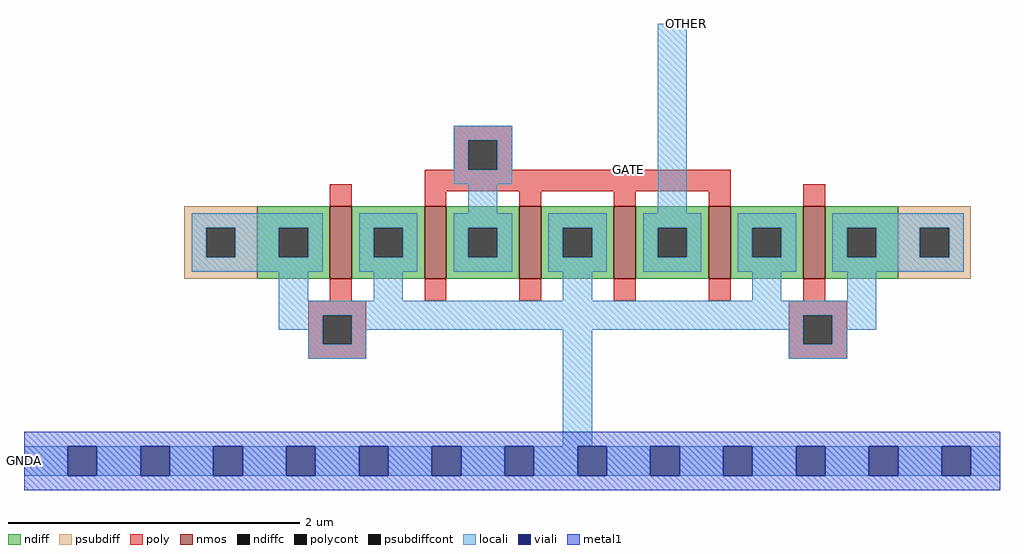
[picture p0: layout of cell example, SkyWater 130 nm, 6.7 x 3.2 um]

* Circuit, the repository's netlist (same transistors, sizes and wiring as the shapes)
* NGSPICE file created from example.ext - technology: sky130A

**.subckt example
X0 GATE GATE GNDA GNDA sky130_fd_pr__nfet_01v8 ad=0.125 pd=1 as=0.125 ps=1 w=0.5 l=0.15
X1 GNDA GNDA GNDA GNDA sky130_fd_pr__nfet_01v8 ad=0.125 pd=1 as=1.25 ps=10 w=0.5 l=0.15
X2 GNDA GATE OTHER GNDA sky130_fd_pr__nfet_01v8 ad=0.125 pd=1 as=0.125 ps=1 w=0.5 l=0.15
X3 OTHER GATE GNDA GNDA sky130_fd_pr__nfet_01v8 ad=0.125 pd=1 as=0.125 ps=1 w=0.5 l=0.15
X4 GNDA GNDA GNDA GNDA sky130_fd_pr__nfet_01v8 ad=0.25 pd=2 as=0 ps=0 w=0.5 l=0.15
X5 GNDA GATE GATE GNDA sky130_fd_pr__nfet_01v8 ad=0.125 pd=1 as=0.125 ps=1 w=0.5 l=0.15
.ends

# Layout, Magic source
magic
tech sky130A
<< nmos >>
rect 3460 1925 3475 1975
rect 3525 1925 3540 1975
rect 3590 1925 3605 1975
rect 3655 1925 3670 1975
rect 3720 1925 3735 1975
rect 3785 1925 3800 1975
<< ndiff >>
rect 3410 1960 3460 1975
rect 3410 1940 3425 1960
rect 3445 1940 3460 1960
rect 3410 1925 3460 1940
rect 3475 1960 3525 1975
rect 3475 1940 3490 1960
rect 3510 1940 3525 1960
rect 3475 1925 3525 1940
rect 3540 1960 3590 1975
rect 3540 1940 3555 1960
rect 3575 1940 3590 1960
rect 3540 1925 3590 1940
rect 3605 1960 3655 1975
rect 3605 1940 3620 1960
rect 3640 1940 3655 1960
rect 3605 1925 3655 1940
rect 3670 1960 3720 1975
rect 3670 1940 3685 1960
rect 3705 1940 3720 1960
rect 3670 1925 3720 1940
rect 3735 1960 3785 1975
rect 3735 1940 3750 1960
rect 3770 1940 3785 1960
rect 3735 1925 3785 1940
rect 3800 1960 3850 1975
rect 3800 1940 3815 1960
rect 3835 1940 3850 1960
rect 3800 1925 3850 1940
<< ndiffc >>
rect 3425 1940 3445 1960
rect 3490 1940 3510 1960
rect 3555 1940 3575 1960
rect 3620 1940 3640 1960
rect 3685 1940 3705 1960
rect 3750 1940 3770 1960
rect 3815 1940 3835 1960
<< psubdiff >>
rect 3360 1960 3410 1975
rect 3360 1940 3375 1960
rect 3395 1940 3410 1960
rect 3360 1925 3410 1940
rect 3850 1960 3900 1975
rect 3850 1940 3865 1960
rect 3885 1940 3900 1960
rect 3850 1925 3900 1940
<< psubdiffcont >>
rect 3375 1940 3395 1960
rect 3865 1940 3885 1960
<< poly >>
rect 3545 2020 3585 2030
rect 3545 2000 3555 2020
rect 3575 2000 3585 2020
rect 3460 1975 3475 1990
rect 3525 1985 3735 2000
rect 3525 1975 3540 1985
rect 3590 1975 3605 1985
rect 3655 1975 3670 1985
rect 3720 1975 3735 1985
rect 3785 1975 3800 1990
rect 3460 1910 3475 1925
rect 3525 1910 3540 1925
rect 3590 1910 3605 1925
rect 3655 1910 3670 1925
rect 3720 1910 3735 1925
rect 3785 1910 3800 1925
rect 3445 1900 3485 1910
rect 3445 1880 3455 1900
rect 3475 1880 3485 1900
rect 3445 1870 3485 1880
rect 3775 1900 3815 1910
rect 3775 1880 3785 1900
rect 3805 1880 3815 1900
rect 3775 1870 3815 1880
<< polycont >>
rect 3555 2000 3575 2020
rect 3455 1880 3475 1900
rect 3785 1880 3805 1900
<< locali >>
rect 3545 2020 3585 2030
rect 3545 2000 3555 2020
rect 3575 2000 3585 2020
rect 3545 1990 3585 2000
rect 3555 1970 3575 1990
rect 3685 1970 3705 2100
rect 3365 1960 3455 1970
rect 3365 1940 3375 1960
rect 3395 1940 3425 1960
rect 3445 1940 3455 1960
rect 3365 1930 3455 1940
rect 3480 1960 3520 1970
rect 3480 1940 3490 1960
rect 3510 1940 3520 1960
rect 3480 1930 3520 1940
rect 3545 1960 3585 1970
rect 3545 1940 3555 1960
rect 3575 1940 3585 1960
rect 3545 1930 3585 1940
rect 3610 1960 3650 1970
rect 3610 1940 3620 1960
rect 3640 1940 3650 1960
rect 3610 1930 3650 1940
rect 3675 1960 3715 1970
rect 3675 1940 3685 1960
rect 3705 1940 3715 1960
rect 3675 1930 3715 1940
rect 3740 1960 3780 1970
rect 3740 1940 3750 1960
rect 3770 1940 3780 1960
rect 3740 1930 3780 1940
rect 3805 1960 3895 1970
rect 3805 1940 3815 1960
rect 3835 1940 3865 1960
rect 3885 1940 3895 1960
rect 3805 1930 3895 1940
rect 3425 1910 3445 1930
rect 3490 1910 3510 1930
rect 3620 1910 3640 1930
rect 3750 1910 3770 1930
rect 3815 1910 3835 1930
rect 3425 1900 3835 1910
rect 3425 1890 3455 1900
rect 3445 1880 3455 1890
rect 3475 1890 3785 1900
rect 3475 1880 3485 1890
rect 3445 1870 3485 1880
rect 3620 1810 3640 1890
rect 3775 1880 3785 1890
rect 3805 1890 3835 1900
rect 3805 1880 3815 1890
rect 3775 1870 3815 1880
rect 3250 1790 3280 1810
rect 3300 1790 3330 1810
rect 3350 1790 3380 1810
rect 3400 1790 3430 1810
rect 3450 1790 3480 1810
rect 3500 1790 3530 1810
rect 3550 1790 3580 1810
rect 3600 1790 3630 1810
rect 3650 1790 3680 1810
rect 3700 1790 3730 1810
rect 3750 1790 3780 1810
rect 3800 1790 3830 1810
rect 3850 1790 3880 1810
rect 3900 1790 3920 1810
<< viali >>
rect 3280 1790 3300 1810
rect 3330 1790 3350 1810
rect 3380 1790 3400 1810
rect 3430 1790 3450 1810
rect 3480 1790 3500 1810
rect 3530 1790 3550 1810
rect 3580 1790 3600 1810
rect 3630 1790 3650 1810
rect 3680 1790 3700 1810
rect 3730 1790 3750 1810
rect 3780 1790 3800 1810
rect 3830 1790 3850 1810
rect 3880 1790 3900 1810
<< metal1 >>
rect 3250 1810 3920 1820
rect 3250 1790 3280 1810
rect 3300 1790 3330 1810
rect 3350 1790 3380 1810
rect 3400 1790 3430 1810
rect 3450 1790 3480 1810
rect 3500 1790 3530 1810
rect 3550 1790 3580 1810
rect 3600 1790 3630 1810
rect 3650 1790 3680 1810
rect 3700 1790 3730 1810
rect 3750 1790 3780 1810
rect 3800 1790 3830 1810
rect 3850 1790 3880 1810
rect 3900 1790 3920 1810
rect 3250 1780 3920 1790
<< labels >>
flabel locali 3250 1800 3250 1800 7 FreeSans 400 0 -200 0 GNDA
flabel poly 3665 2000 3665 2000 1 FreeSans 400 0 0 200 GATE
flabel locali 3705 2100 3705 2100 1 FreeSans 400 0 0 200 OTHER
<< end >>
